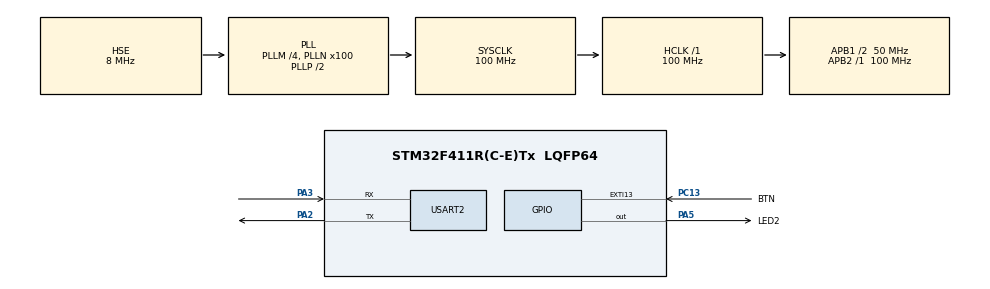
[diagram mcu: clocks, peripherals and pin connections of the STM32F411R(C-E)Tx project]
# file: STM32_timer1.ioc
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Mcu.Family=STM32F4
Mcu.Name=STM32F411R(C-E)Tx
Mcu.Package=LQFP64
NVIC.EXTI15_10_IRQn=true\:0\:0\:false\:false\:true\:true\:true\:true
NVIC.PriorityGroup=NVIC_PRIORITYGROUP_4
NVIC.TIM4_IRQn=true\:0\:0\:false\:false\:true\:true\:true\:true
PA13.Mode=Serial_Wire
PA13.Signal=SYS_JTMS-SWDIO
PA14.Mode=Serial_Wire
PA14.Signal=SYS_JTCK-SWCLK
PA2.Mode=Asynchronous
PA2.Signal=USART2_TX
PA3.Mode=Asynchronous
PA3.Signal=USART2_RX
PA5.GPIO_Label=LED2
PA5.GPIO_ModeDefaultOutputPP=GPIO_MODE_OUTPUT_OD
PA5.GPIO_PuPd=GPIO_NOPULL
PA5.PinState=GPIO_PIN_SET
PA5.Signal=GPIO_Output
PC13-ANTI_TAMP.GPIO_Label=BTN
PC13-ANTI_TAMP.Signal=GPXTI13
PH0\ -\ OSC_IN.Mode=HSE-External-Clock-Source
PH0\ -\ OSC_IN.Signal=RCC_OSC_IN
PH1\ -\ OSC_OUT.Mode=HSE-External-Clock-Source
PH1\ -\ OSC_OUT.Signal=RCC_OSC_OUT
ProjectManager.HeapSize=0x200
ProjectManager.StackSize=0x400
ProjectManager.TargetToolchain=STM32CubeIDE
RCC.48MHZClocksFreq_Value=50000000
RCC.AHBFreq_Value=100000000
RCC.APB1CLKDivider=RCC_HCLK_DIV2
RCC.APB1Freq_Value=50000000
RCC.APB1TimFreq_Value=100000000
RCC.APB2Freq_Value=100000000
RCC.APB2TimFreq_Value=100000000
RCC.CortexFreq_Value=100000000
RCC.HCLKFreq_Value=100000000
RCC.HSE_VALUE=8000000
RCC.HSI_VALUE=16000000
RCC.LSE_VALUE=32768
RCC.PLLM=4
RCC.PLLN=100
RCC.PLLSourceVirtual=RCC_PLLSOURCE_HSE
RCC.SYSCLKFreq_VALUE=100000000
RCC.SYSCLKSource=RCC_SYSCLKSOURCE_PLLCLK
RCC.VCOOutputFreq_Value=200000000
TIM4.Period=4999
TIM4.Prescaler=9999
USART2.VirtualMode=VM_ASYNC
VP_TIM4_VS_ClockSourceINT.Mode=Internal
board=custom

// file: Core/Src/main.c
/* USER CODE BEGIN Header */
/**
  ******************************************************************************
  * @file           : main.c
  * @brief          : Main program body
  ******************************************************************************
  * @attention
  *
  * Copyright (c) 2026 STMicroelectronics.
  * All rights reserved.
  *
  * This software is licensed under terms that can be found in the LICENSE file
  * in the root directory of this software component.
  * If no LICENSE file comes with this software, it is provided AS-IS.
  *
  ******************************************************************************
  */
/* USER CODE END Header */
#include "main.h"

/* USER CODE BEGIN Includes */

#include<stdio.h>
#include<string.h>

/* USER CODE END Includes */

TIM_HandleTypeDef htim4;

UART_HandleTypeDef huart2;

/* USER CODE BEGIN PV */

uint8_t button_press =0;		// mereu initializat la 0
uint16_t blink_delays[] = {500, 250, 100};
uint8_t blink_delay = 0;

/* USER CODE END PV */

void SystemClock_Config(void);
static void MX_GPIO_Init(void);
static void MX_USART2_UART_Init(void);
static void MX_TIM4_Init(void);

/* USER CODE BEGIN 0 */

int send_message(char* ptr, int len){
		int status = HAL_UART_Transmit(&huart2, (uint8_t *) ptr, len, HAL_MAX_DELAY);
		// atentie insa, metoda asta de transmisie de mesaje este mancatoare de ceas
		// ideal ar fi sa o fac cu intrerupere sau cu DMA

		if(status == HAL_OK)
			return len;
		else return -1;
	}

void HAL_GPIO_EXTI_Callback(uint16_t GPIO_Pin){
		if(GPIO_Pin == BTN_Pin){
			button_press = 1;
		}
	}

void HAL_TIM_PeriodElapsedCallback(TIM_HandleTypeDef *htim){
	HAL_GPIO_TogglePin(LED2_GPIO_Port, LED2_Pin);
}

/* USER CODE END 0 */

int main(void)
{

  /* USER CODE BEGIN 1 */

	uint8_t mesaj1[] = "Mesaj trimis!\r\n";
	uint8_t mesaj4[] = "Buton apasat!\r\n";
	uint8_t num_buffer[40];
	uint8_t len_mesaj1 = 15;
	uint8_t len_mesaj4 = 15;

  /* USER CODE END 1 */

  /* MCU Configuration--------------------------------------------------------*/

  /* Reset of all peripherals, Initializes the Flash interface and the Systick. */
  HAL_Init();

  /* Configure the system clock */
  SystemClock_Config();

  /* Initialize all configured peripherals */
  MX_GPIO_Init();
  MX_USART2_UART_Init();
  MX_TIM4_Init();
  /* USER CODE BEGIN 2 */

  uint32_t now = 0;
  uint32_t last_blink = 0;
  uint32_t last_tick = 0;
  uint32_t loop_count = 0;

  send_message("Incepe exercitiul stm32_timer!\r\n", 32);

  // de aici incolo scriu cod pentru timer
  HAL_TIM_Base_Start_IT(&htim4);
  // ce face functia de mai sus: porneste timerul ca mai apoi sa arunce o intrerupere de doua ori pe secunda (2Hz)

  /* USER CODE END 2 */

  /* Infinite loop */
  while (1)
  {

    /* USER CODE BEGIN 3 */

	  now = HAL_GetTick();

//	  if(now-last_blink > blink_delays[blink_delay]){
//	  		  // vreau sa trimit si un mesaj prin uart catre laptop
//	  		  send_message(mesaj1, len_mesaj1);
//
//
//	  		  HAL_GPIO_TogglePin(LED2_GPIO_Port, LED2_Pin);
//	  		  last_blink = now;		// dau variabilei last_blink valoarea anterioara
//	  	  }

//	  if (now -last_tick >=1000){
//	  		  int len_num = sprintf(num_buffer, "%lu (loop count = %lu)\r\n", now/1000, loop_count);
//	  		  loop_count = 0;
//	  		  send_message(num_buffer, len_num);
//	  		  last_tick = now;
//	  	  }

//	  if(button_press == 1){
//	 		  send_message(mesaj4, len_mesaj4);
//	 		  ++blink_delay;
//	 		  if(blink_delay>= sizeof(blink_delays)/sizeof(blink_delays[0]))
//	 			  blink_delay = 0;
//	 		  button_press = 0;
//	 	  }

	 	  ++loop_count;

  }
  /* USER CODE END 3 */
}

void SystemClock_Config(void)
{
  RCC_OscInitTypeDef RCC_OscInitStruct = {0};
  RCC_ClkInitTypeDef RCC_ClkInitStruct = {0};

  /** Configure the main internal regulator output voltage
  */
  __HAL_RCC_PWR_CLK_ENABLE();
  __HAL_PWR_VOLTAGESCALING_CONFIG(PWR_REGULATOR_VOLTAGE_SCALE1);

  /** Initializes the RCC Oscillators according to the specified parameters
  * in the RCC_OscInitTypeDef structure.
  */
  RCC_OscInitStruct.OscillatorType = RCC_OSCILLATORTYPE_HSE;
  RCC_OscInitStruct.HSEState = RCC_HSE_BYPASS;
  RCC_OscInitStruct.PLL.PLLState = RCC_PLL_ON;
  RCC_OscInitStruct.PLL.PLLSource = RCC_PLLSOURCE_HSE;
  RCC_OscInitStruct.PLL.PLLM = 4;
  RCC_OscInitStruct.PLL.PLLN = 100;
  RCC_OscInitStruct.PLL.PLLP = RCC_PLLP_DIV2;
  RCC_OscInitStruct.PLL.PLLQ = 4;
  if (HAL_RCC_OscConfig(&RCC_OscInitStruct) != HAL_OK)
  {
    Error_Handler();
  }

  /** Initializes the CPU, AHB and APB buses clocks
  */
  RCC_ClkInitStruct.ClockType = RCC_CLOCKTYPE_HCLK|RCC_CLOCKTYPE_SYSCLK
                              |RCC_CLOCKTYPE_PCLK1|RCC_CLOCKTYPE_PCLK2;
  RCC_ClkInitStruct.SYSCLKSource = RCC_SYSCLKSOURCE_PLLCLK;
  RCC_ClkInitStruct.AHBCLKDivider = RCC_SYSCLK_DIV1;
  RCC_ClkInitStruct.APB1CLKDivider = RCC_HCLK_DIV2;
  RCC_ClkInitStruct.APB2CLKDivider = RCC_HCLK_DIV1;

  if (HAL_RCC_ClockConfig(&RCC_ClkInitStruct, FLASH_LATENCY_3) != HAL_OK)
  {
    Error_Handler();
  }
}

static void MX_TIM4_Init(void)
{

  TIM_ClockConfigTypeDef sClockSourceConfig = {0};
  TIM_MasterConfigTypeDef sMasterConfig = {0};

  htim4.Instance = TIM4;
  htim4.Init.Prescaler = 9999;
  htim4.Init.CounterMode = TIM_COUNTERMODE_UP;
  htim4.Init.Period = 4999;
  htim4.Init.ClockDivision = TIM_CLOCKDIVISION_DIV1;
  htim4.Init.AutoReloadPreload = TIM_AUTORELOAD_PRELOAD_DISABLE;
  if (HAL_TIM_Base_Init(&htim4) != HAL_OK)
  {
    Error_Handler();
  }
  sClockSourceConfig.ClockSource = TIM_CLOCKSOURCE_INTERNAL;
  if (HAL_TIM_ConfigClockSource(&htim4, &sClockSourceConfig) != HAL_OK)
  {
    Error_Handler();
  }
  sMasterConfig.MasterOutputTrigger = TIM_TRGO_RESET;
  sMasterConfig.MasterSlaveMode = TIM_MASTERSLAVEMODE_DISABLE;
  if (HAL_TIMEx_MasterConfigSynchronization(&htim4, &sMasterConfig) != HAL_OK)
  {
    Error_Handler();
  }

}

static void MX_USART2_UART_Init(void)
{

  huart2.Instance = USART2;
  huart2.Init.BaudRate = 115200;
  huart2.Init.WordLength = UART_WORDLENGTH_8B;
  huart2.Init.StopBits = UART_STOPBITS_1;
  huart2.Init.Parity = UART_PARITY_NONE;
  huart2.Init.Mode = UART_MODE_TX_RX;
  huart2.Init.HwFlowCtl = UART_HWCONTROL_NONE;
  huart2.Init.OverSampling = UART_OVERSAMPLING_16;
  if (HAL_UART_Init(&huart2) != HAL_OK)
  {
    Error_Handler();
  }

}

static void MX_GPIO_Init(void)
{
  GPIO_InitTypeDef GPIO_InitStruct = {0};

  /* GPIO Ports Clock Enable */
  __HAL_RCC_GPIOC_CLK_ENABLE();
  __HAL_RCC_GPIOH_CLK_ENABLE();
  __HAL_RCC_GPIOA_CLK_ENABLE();

  /*Configure GPIO pin Output Level */
  HAL_GPIO_WritePin(LED2_GPIO_Port, LED2_Pin, GPIO_PIN_SET);

  /*Configure GPIO pin : BTN_Pin */
  GPIO_InitStruct.Pin = BTN_Pin;
  GPIO_InitStruct.Mode = GPIO_MODE_IT_RISING;
  GPIO_InitStruct.Pull = GPIO_NOPULL;
  HAL_GPIO_Init(BTN_GPIO_Port, &GPIO_InitStruct);

  /*Configure GPIO pin : LED2_Pin */
  GPIO_InitStruct.Pin = LED2_Pin;
  GPIO_InitStruct.Mode = GPIO_MODE_OUTPUT_OD;
  GPIO_InitStruct.Pull = GPIO_NOPULL;
  GPIO_InitStruct.Speed = GPIO_SPEED_FREQ_LOW;
  HAL_GPIO_Init(LED2_GPIO_Port, &GPIO_InitStruct);

  /* EXTI interrupt init*/
  HAL_NVIC_SetPriority(EXTI15_10_IRQn, 0, 0);
  HAL_NVIC_EnableIRQ(EXTI15_10_IRQn);

}

void Error_Handler(void)
{
  __disable_irq();
  while (1)
  {
  }
}
